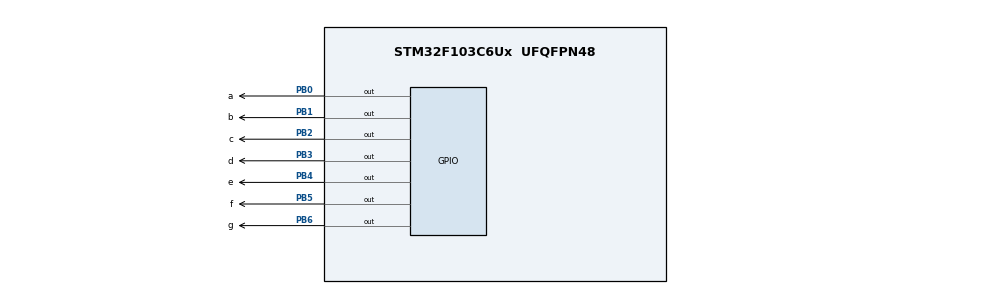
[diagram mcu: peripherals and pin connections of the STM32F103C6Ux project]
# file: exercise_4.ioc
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Mcu.Family=STM32F1
Mcu.Name=STM32F103C6Ux
Mcu.Package=UFQFPN48
NVIC.PriorityGroup=NVIC_PRIORITYGROUP_4
PB0.GPIO_Label=a
PB0.Signal=GPIO_Output
PB1.GPIO_Label=b
PB1.Signal=GPIO_Output
PB2.GPIO_Label=c
PB2.Signal=GPIO_Output
PB3.GPIO_Label=d
PB3.Signal=GPIO_Output
PB4.GPIO_Label=e
PB4.Signal=GPIO_Output
PB5.GPIO_Label=f
PB5.Signal=GPIO_Output
PB6.GPIO_Label=g
PB6.Signal=GPIO_Output
ProjectManager.HeapSize=0x200
ProjectManager.StackSize=0x400
ProjectManager.TargetToolchain=STM32CubeIDE
RCC.APB1Freq_Value=8000000
RCC.APB2Freq_Value=8000000
VP_SYS_VS_ND.Mode=No_Debug
board=custom

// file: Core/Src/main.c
/* USER CODE BEGIN Header */
/**
  ******************************************************************************
  * @file           : main.c
  * @brief          : Main program body
  ******************************************************************************
  * @attention
  *
  * <h2><center>&copy; Copyright (c) 2025 STMicroelectronics.
  * All rights reserved.</center></h2>
  *
  * This software component is licensed by ST under BSD 3-Clause license,
  * the "License"; You may not use this file except in compliance with the
  * License. You may obtain a copy of the License at:
  *                        opensource.org/licenses/BSD-3-Clause
  *
  ******************************************************************************
  */
/* USER CODE END Header */
#include "main.h"

/* USER CODE BEGIN PV */
uint8_t led7seg_num_display[] = {
		/*0*/ 0x40,/*0b1000000*/
		/*1*/ 0x79,/*0b11111001*/
		/*2*/ 0x24,/*0b0100100*/
		/*3*/ 0x30,/*0b0110000*/
		/*4*/ 0x19,/*0b0011001*/
		/*5*/ 0x12,/*0b0010010*/
		/*6*/ 0x02,/*0b0000010*/
		/*7*/ 0x78,/*0b1111000*/
		/*8*/ 0x00,/*0b0000000*/
		/*9*/ 0x10/*0b0010000*/
};
uint8_t counter = 0;
/* USER CODE END PV */

void SystemClock_Config(void);
static void MX_GPIO_Init(void);
/* USER CODE BEGIN PFP */
void display7SEG(uint8_t num);
/* USER CODE END PFP */

int main(void)
{

  /* MCU Configuration--------------------------------------------------------*/

  /* Reset of all peripherals, Initializes the Flash interface and the Systick. */
  HAL_Init();

  /* Configure the system clock */
  SystemClock_Config();

  /* Initialize all configured peripherals */
  MX_GPIO_Init();

  /* Infinite loop */
  while (1)
  {
	  if (counter >= 10){
		  counter = 0;
	  }
	  display7SEG(counter++);
	  HAL_Delay(1000);
  }
}

void SystemClock_Config(void)
{
  RCC_OscInitTypeDef RCC_OscInitStruct = {0};
  RCC_ClkInitTypeDef RCC_ClkInitStruct = {0};

  /** Initializes the RCC Oscillators according to the specified parameters
  * in the RCC_OscInitTypeDef structure.
  */
  RCC_OscInitStruct.OscillatorType = RCC_OSCILLATORTYPE_HSI;
  RCC_OscInitStruct.HSIState = RCC_HSI_ON;
  RCC_OscInitStruct.HSICalibrationValue = RCC_HSICALIBRATION_DEFAULT;
  RCC_OscInitStruct.PLL.PLLState = RCC_PLL_NONE;
  if (HAL_RCC_OscConfig(&RCC_OscInitStruct) != HAL_OK)
  {
    Error_Handler();
  }
  /** Initializes the CPU, AHB and APB buses clocks
  */
  RCC_ClkInitStruct.ClockType = RCC_CLOCKTYPE_HCLK|RCC_CLOCKTYPE_SYSCLK
                              |RCC_CLOCKTYPE_PCLK1|RCC_CLOCKTYPE_PCLK2;
  RCC_ClkInitStruct.SYSCLKSource = RCC_SYSCLKSOURCE_HSI;
  RCC_ClkInitStruct.AHBCLKDivider = RCC_SYSCLK_DIV1;
  RCC_ClkInitStruct.APB1CLKDivider = RCC_HCLK_DIV1;
  RCC_ClkInitStruct.APB2CLKDivider = RCC_HCLK_DIV1;

  if (HAL_RCC_ClockConfig(&RCC_ClkInitStruct, FLASH_LATENCY_0) != HAL_OK)
  {
    Error_Handler();
  }
}

static void MX_GPIO_Init(void)
{
  GPIO_InitTypeDef GPIO_InitStruct = {0};

  /* GPIO Ports Clock Enable */
  __HAL_RCC_GPIOB_CLK_ENABLE();

  /*Configure GPIO pin Output Level */
  HAL_GPIO_WritePin(GPIOB, a_Pin|b_Pin|c_Pin|d_Pin
                          |e_Pin|f_Pin|g_Pin, GPIO_PIN_RESET);

  /*Configure GPIO pins : a_Pin b_Pin c_Pin d_Pin
                           e_Pin f_Pin g_Pin */
  GPIO_InitStruct.Pin = a_Pin|b_Pin|c_Pin|d_Pin
                          |e_Pin|f_Pin|g_Pin;
  GPIO_InitStruct.Mode = GPIO_MODE_OUTPUT_PP;
  GPIO_InitStruct.Pull = GPIO_NOPULL;
  GPIO_InitStruct.Speed = GPIO_SPEED_FREQ_LOW;
  HAL_GPIO_Init(GPIOB, &GPIO_InitStruct);

}

/* USER CODE BEGIN 4 */
void display7SEG(uint8_t num){
	HAL_GPIO_WritePin(a_GPIO_Port, a_Pin, !((~led7seg_num_display[num]) & (1 << 0)));
	HAL_GPIO_WritePin(b_GPIO_Port, b_Pin, !((~led7seg_num_display[num]) & (1 << 1)));
	HAL_GPIO_WritePin(c_GPIO_Port, c_Pin, !((~led7seg_num_display[num]) & (1 << 2)));
	HAL_GPIO_WritePin(d_GPIO_Port, d_Pin, !((~led7seg_num_display[num]) & (1 << 3)));
	HAL_GPIO_WritePin(e_GPIO_Port, e_Pin, !((~led7seg_num_display[num]) & (1 << 4)));
	HAL_GPIO_WritePin(f_GPIO_Port, f_Pin, !((~led7seg_num_display[num]) & (1 << 5)));
	HAL_GPIO_WritePin(g_GPIO_Port, g_Pin, !((~led7seg_num_display[num]) & (1 << 6)));
}
/* USER CODE END 4 */

void Error_Handler(void)
{
  __disable_irq();
  while (1)
  {
  }
}

/************************ (C) COPYRIGHT STMicroelectronics *****END OF FILE****/
